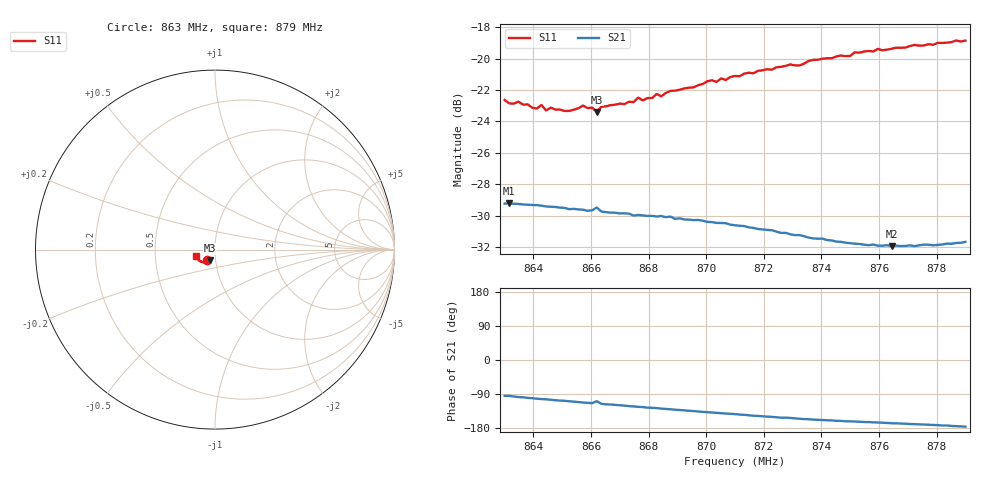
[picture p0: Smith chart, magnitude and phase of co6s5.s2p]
# HZ S RI R 50
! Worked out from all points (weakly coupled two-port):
!   101 points, 863 MHz to 879 MHz, reference 50 ohm
!   highest |S21| = -29.23 dB at 863.16 MHz (marker M1); lowest = -32.0 dB at 876.44 MHz (marker M2)
!   lowest |S11| = -23.4 dB at 866.2 MHz (marker M3), VSWR 1.14, Z = 46.7 - j5.66 ohm
!   |S11| at or under -10 dB: start of sweep to end of sweep
!   S12 and S22 are empty: the file has one direction only
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8.63e8  -0.0467 -0.0571  -0.00266 -0.0344  0 0  0 0
8.6316e8  -0.0438 -0.0571  -0.00282 -0.0344  0 0  0 0
8.6348e8  -0.0457 -0.0568  -0.00459 -0.0341  0 0  0 0
8.6412e8  -0.0419 -0.0552  -0.00716 -0.0334  0 0  0 0
8.6428e8  -0.042 -0.0574  -0.0077 -0.0331  0 0  0 0
8.6444e8  -0.0402 -0.0552  -0.008 -0.0328  0 0  0 0
8.646e8  -0.0409 -0.0565  -0.00864 -0.0326  0 0  0 0
8.6524e8  -0.039 -0.0558  -0.0107 -0.0313  0 0  0 0
8.6572e8  -0.0379 -0.0598  -0.0125 -0.0306  0 0  0 0
8.662e8  -0.0305 -0.0603  -0.0108 -0.0318  0 0  0 0
8.6636e8  -0.0387 -0.0586  -0.0141 -0.0294  0 0  0 0
8.6748e8  -0.0375 -0.0623  -0.017 -0.0267  0 0  0 0
8.6764e8  -0.0401 -0.0635  -0.0176 -0.0264  0 0  0 0
8.678e8  -0.0384 -0.0628  -0.0178 -0.0261  0 0  0 0
8.6828e8  -0.0394 -0.0662  -0.0188 -0.0251  0 0  0 0
8.6844e8  -0.0396 -0.0646  -0.0195 -0.0247  0 0  0 0
8.6876e8  -0.041 -0.0674  -0.0202 -0.024  0 0  0 0
8.71e8  -0.0512 -0.0716  -0.0234 -0.0178  0 0  0 0
8.7324e8  -0.065 -0.0694  -0.0248 -0.0115  0 0  0 0
8.7372e8  -0.0695 -0.0706  -0.0246 -0.0103  0 0  0 0
8.7644e8  -0.0907 -0.0577  -0.0246 -0.00571  0 0  0 0
8.79e8  -0.1076 -0.0379  -0.026 -0.00185  0 0  0 0
